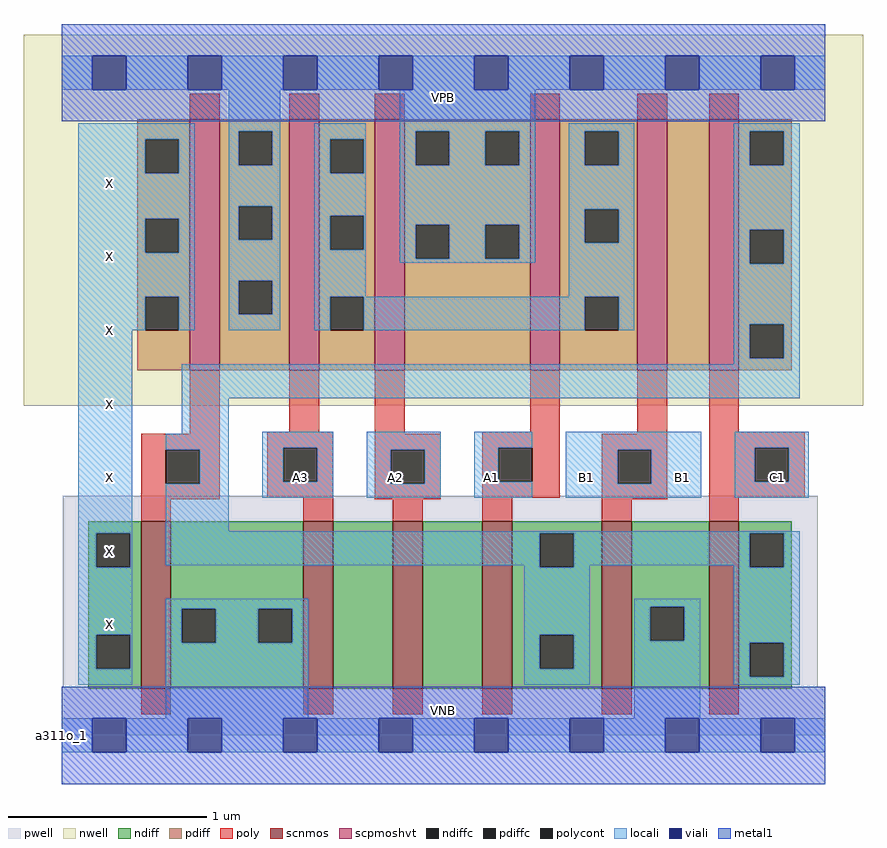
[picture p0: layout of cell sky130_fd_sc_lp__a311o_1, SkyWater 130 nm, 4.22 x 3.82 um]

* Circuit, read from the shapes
.subckt sky130_fd_sc_lp__a311o_1 A1 A2 A3 B1 C1 VGND VNB VPB VPWR X
XM1 VGND n1 X VNB sky130_fd_pr__nfet_01v8 w=0.84 l=0.15
XM2 n2 A3 VGND VNB sky130_fd_pr__nfet_01v8 w=0.84 l=0.15
XM3 n3 A2 n2 VNB sky130_fd_pr__nfet_01v8 w=0.84 l=0.15
XM4 n1 A1 n3 VNB sky130_fd_pr__nfet_01v8 w=0.84 l=0.15
XM5 VGND B1 n1 VNB sky130_fd_pr__nfet_01v8 w=0.84 l=0.15
XM6 n1 C1 VGND VNB sky130_fd_pr__nfet_01v8 w=0.84 l=0.15
XM7 VPWR n1 X VPB sky130_fd_pr__pfet_01v8_hvt w=1.26 l=0.15
XM8 n4 A3 VPWR VPB sky130_fd_pr__pfet_01v8_hvt w=1.26 l=0.15
XM9 VPWR A2 n4 VPB sky130_fd_pr__pfet_01v8_hvt w=1.26 l=0.15
XM10 n4 A1 VPWR VPB sky130_fd_pr__pfet_01v8_hvt w=1.26 l=0.15
XM11 n5 B1 n4 VPB sky130_fd_pr__pfet_01v8_hvt w=1.26 l=0.15
XM12 n1 C1 n5 VPB sky130_fd_pr__pfet_01v8_hvt w=1.26 l=0.15
.ends

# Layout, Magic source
magic
tech sky130A
magscale 1 2
<< nwell >>
rect -38 331 806 704
<< pwell >>
rect 1 49 760 241
rect 0 0 768 49
<< scnmos >>
rect 80 47 110 215
rect 243 47 273 215
rect 333 47 363 215
rect 423 47 453 215
rect 543 47 573 215
rect 651 47 681 215
<< scpmoshvt >>
rect 129 367 159 619
rect 229 367 259 619
rect 315 367 345 619
rect 471 367 501 619
rect 579 367 609 619
rect 651 367 681 619
<< ndiff >>
rect 27 203 80 215
rect 27 169 35 203
rect 69 169 80 203
rect 27 101 80 169
rect 27 67 35 101
rect 69 67 80 101
rect 27 47 80 67
rect 110 127 243 215
rect 110 93 121 127
rect 155 93 198 127
rect 232 93 243 127
rect 110 47 243 93
rect 273 47 333 215
rect 363 47 423 215
rect 453 203 543 215
rect 453 169 481 203
rect 515 169 543 203
rect 453 101 543 169
rect 453 67 481 101
rect 515 67 543 101
rect 453 47 543 67
rect 573 129 651 215
rect 573 95 592 129
rect 626 95 651 129
rect 573 47 651 95
rect 681 203 734 215
rect 681 169 692 203
rect 726 169 734 203
rect 681 93 734 169
rect 681 59 692 93
rect 726 59 734 93
rect 681 47 734 59
<< pdiff >>
rect 76 599 129 619
rect 76 565 84 599
rect 118 565 129 599
rect 76 519 129 565
rect 76 485 84 519
rect 118 485 129 519
rect 76 441 129 485
rect 76 407 84 441
rect 118 407 129 441
rect 76 367 129 407
rect 159 607 229 619
rect 159 573 178 607
rect 212 573 229 607
rect 159 532 229 573
rect 159 498 178 532
rect 212 498 229 532
rect 159 457 229 498
rect 159 423 178 457
rect 212 423 229 457
rect 159 367 229 423
rect 259 599 315 619
rect 259 565 270 599
rect 304 565 315 599
rect 259 522 315 565
rect 259 488 270 522
rect 304 488 315 522
rect 259 441 315 488
rect 259 407 270 441
rect 304 407 315 441
rect 259 367 315 407
rect 345 607 471 619
rect 345 573 356 607
rect 390 573 426 607
rect 460 573 471 607
rect 345 513 471 573
rect 345 479 356 513
rect 390 479 426 513
rect 460 479 471 513
rect 345 367 471 479
rect 501 607 579 619
rect 501 573 526 607
rect 560 573 579 607
rect 501 529 579 573
rect 501 495 526 529
rect 560 495 579 529
rect 501 441 579 495
rect 501 407 526 441
rect 560 407 579 441
rect 501 367 579 407
rect 609 367 651 619
rect 681 607 734 619
rect 681 573 692 607
rect 726 573 734 607
rect 681 508 734 573
rect 681 474 692 508
rect 726 474 734 508
rect 681 413 734 474
rect 681 379 692 413
rect 726 379 734 413
rect 681 367 734 379
<< ndiffc >>
rect 35 169 69 203
rect 35 67 69 101
rect 121 93 155 127
rect 198 93 232 127
rect 481 169 515 203
rect 481 67 515 101
rect 592 95 626 129
rect 692 169 726 203
rect 692 59 726 93
<< pdiffc >>
rect 84 565 118 599
rect 84 485 118 519
rect 84 407 118 441
rect 178 573 212 607
rect 178 498 212 532
rect 178 423 212 457
rect 270 565 304 599
rect 270 488 304 522
rect 270 407 304 441
rect 356 573 390 607
rect 426 573 460 607
rect 356 479 390 513
rect 426 479 460 513
rect 526 573 560 607
rect 526 495 560 529
rect 526 407 560 441
rect 692 573 726 607
rect 692 474 726 508
rect 692 379 726 413
<< poly >>
rect 129 619 159 645
rect 229 619 259 645
rect 315 619 345 645
rect 471 619 501 645
rect 579 619 609 645
rect 651 619 681 645
rect 129 303 159 367
rect 229 305 259 367
rect 80 287 159 303
rect 80 253 105 287
rect 139 253 159 287
rect 80 237 159 253
rect 207 289 273 305
rect 207 255 223 289
rect 257 255 273 289
rect 207 239 273 255
rect 80 215 110 237
rect 243 215 273 239
rect 315 303 345 367
rect 471 305 501 367
rect 315 287 381 303
rect 315 253 331 287
rect 365 253 381 287
rect 315 237 381 253
rect 423 289 501 305
rect 579 303 609 367
rect 423 255 439 289
rect 473 255 501 289
rect 423 239 501 255
rect 543 287 609 303
rect 543 253 559 287
rect 593 253 609 287
rect 333 215 363 237
rect 423 215 453 239
rect 543 237 609 253
rect 651 305 681 367
rect 651 289 747 305
rect 651 255 697 289
rect 731 255 747 289
rect 651 239 747 255
rect 543 215 573 237
rect 651 215 681 239
rect 80 21 110 47
rect 243 21 273 47
rect 333 21 363 47
rect 423 21 453 47
rect 543 21 573 47
rect 651 21 681 47
<< polycont >>
rect 105 253 139 287
rect 223 255 257 289
rect 331 253 365 287
rect 439 255 473 289
rect 559 253 593 287
rect 697 255 731 289
<< locali >>
rect 0 649 31 683
rect 65 649 127 683
rect 161 649 223 683
rect 257 649 319 683
rect 353 649 415 683
rect 449 649 511 683
rect 545 649 607 683
rect 641 649 703 683
rect 737 649 768 683
rect 17 599 134 615
rect 17 565 84 599
rect 118 565 134 599
rect 17 519 134 565
rect 17 485 84 519
rect 118 485 134 519
rect 17 441 134 485
rect 17 407 84 441
rect 118 407 134 441
rect 168 607 220 649
rect 168 573 178 607
rect 212 573 220 607
rect 168 532 220 573
rect 168 498 178 532
rect 212 498 220 532
rect 168 457 220 498
rect 168 423 178 457
rect 212 423 220 457
rect 168 407 220 423
rect 254 599 306 615
rect 254 565 270 599
rect 304 565 306 599
rect 254 522 306 565
rect 254 488 270 522
rect 304 488 306 522
rect 254 441 306 488
rect 340 607 476 649
rect 340 573 356 607
rect 390 573 426 607
rect 460 573 476 607
rect 340 513 476 573
rect 340 479 356 513
rect 390 479 426 513
rect 460 479 476 513
rect 340 475 476 479
rect 510 607 576 615
rect 510 573 526 607
rect 560 573 576 607
rect 510 529 576 573
rect 510 495 526 529
rect 560 495 576 529
rect 510 441 576 495
rect 254 407 270 441
rect 304 407 526 441
rect 560 407 576 441
rect 676 607 742 615
rect 676 573 692 607
rect 726 573 742 607
rect 676 508 742 573
rect 676 474 692 508
rect 726 474 742 508
rect 676 413 742 474
rect 17 203 71 407
rect 676 379 692 413
rect 726 379 742 413
rect 676 373 742 379
rect 121 339 742 373
rect 121 303 168 339
rect 17 169 35 203
rect 69 169 71 203
rect 105 287 168 303
rect 139 253 168 287
rect 105 205 168 253
rect 202 289 273 305
rect 202 255 223 289
rect 257 255 273 289
rect 202 239 273 255
rect 307 287 381 305
rect 307 253 331 287
rect 365 253 381 287
rect 307 239 381 253
rect 415 289 473 305
rect 415 255 439 289
rect 415 239 473 255
rect 507 287 643 305
rect 507 253 559 287
rect 593 253 643 287
rect 507 239 643 253
rect 677 289 751 305
rect 677 255 697 289
rect 731 255 751 289
rect 677 239 751 255
rect 105 203 742 205
rect 105 171 481 203
rect 17 101 71 169
rect 465 169 481 171
rect 515 171 692 203
rect 515 169 531 171
rect 17 67 35 101
rect 69 67 71 101
rect 17 51 71 67
rect 105 127 248 137
rect 105 93 121 127
rect 155 93 198 127
rect 232 93 248 127
rect 105 17 248 93
rect 465 101 531 169
rect 676 169 692 171
rect 726 169 742 203
rect 465 67 481 101
rect 515 67 531 101
rect 465 51 531 67
rect 576 129 642 137
rect 576 95 592 129
rect 626 95 642 129
rect 576 17 642 95
rect 676 93 742 169
rect 676 59 692 93
rect 726 59 742 93
rect 676 51 742 59
rect 0 -17 31 17
rect 65 -17 127 17
rect 161 -17 223 17
rect 257 -17 319 17
rect 353 -17 415 17
rect 449 -17 511 17
rect 545 -17 607 17
rect 641 -17 703 17
rect 737 -17 768 17
<< viali >>
rect 31 649 65 683
rect 127 649 161 683
rect 223 649 257 683
rect 319 649 353 683
rect 415 649 449 683
rect 511 649 545 683
rect 607 649 641 683
rect 703 649 737 683
rect 31 -17 65 17
rect 127 -17 161 17
rect 223 -17 257 17
rect 319 -17 353 17
rect 415 -17 449 17
rect 511 -17 545 17
rect 607 -17 641 17
rect 703 -17 737 17
<< metal1 >>
rect 0 683 768 715
rect 0 649 31 683
rect 65 649 127 683
rect 161 649 223 683
rect 257 649 319 683
rect 353 649 415 683
rect 449 649 511 683
rect 545 649 607 683
rect 641 649 703 683
rect 737 649 768 683
rect 0 617 768 649
rect 0 17 768 49
rect 0 -17 31 17
rect 65 -17 127 17
rect 161 -17 223 17
rect 257 -17 319 17
rect 353 -17 415 17
rect 449 -17 511 17
rect 545 -17 607 17
rect 641 -17 703 17
rect 737 -17 768 17
rect 0 -49 768 -17
<< labels >>
flabel pwell s 0 0 768 49 0 FreeSans 200 0 0 0 VNB
port 7 nsew ground bidirectional
flabel nwell s 0 617 768 666 0 FreeSans 200 0 0 0 VPB
port 8 nsew power bidirectional
rlabel comment s 0 0 0 0 4 a311o_1
flabel metal1 s 0 617 768 666 0 FreeSans 340 0 0 0 VPWR
port 9 nsew power bidirectional
flabel metal1 s 0 0 768 49 0 FreeSans 340 0 0 0 VGND
port 6 nsew ground bidirectional
flabel locali s 415 242 449 276 0 FreeSans 340 0 0 0 A1
port 1 nsew signal input
flabel locali s 319 242 353 276 0 FreeSans 340 0 0 0 A2
port 2 nsew signal input
flabel locali s 223 242 257 276 0 FreeSans 340 0 0 0 A3
port 3 nsew signal input
flabel locali s 511 242 545 276 0 FreeSans 340 0 0 0 B1
port 4 nsew signal input
flabel locali s 607 242 641 276 0 FreeSans 340 0 0 0 B1
port 4 nsew signal input
flabel locali s 703 242 737 276 0 FreeSans 340 0 0 0 C1
port 5 nsew signal input
flabel locali s 31 94 65 128 0 FreeSans 340 0 0 0 X
port 10 nsew signal output
flabel locali s 31 168 65 202 0 FreeSans 340 0 0 0 X
port 10 nsew signal output
flabel locali s 31 242 65 276 0 FreeSans 340 0 0 0 X
port 10 nsew signal output
flabel locali s 31 316 65 350 0 FreeSans 340 0 0 0 X
port 10 nsew signal output
flabel locali s 31 390 65 424 0 FreeSans 340 0 0 0 X
port 10 nsew signal output
flabel locali s 31 464 65 498 0 FreeSans 340 0 0 0 X
port 10 nsew signal output
flabel locali s 31 538 65 572 0 FreeSans 340 0 0 0 X
port 10 nsew signal output
<< properties >>
string LEFsite unit
string LEFclass CORE
string FIXED_BBOX 0 0 768 666
string GDS_FILE $PDKPATH/libs.ref/sky130_fd_sc_lp/gds/sky130_fd_sc_lp.gds
string LEFsymmetry X Y R90
string GDS_END 3907544
string GDS_START 3899860
<< end >>
